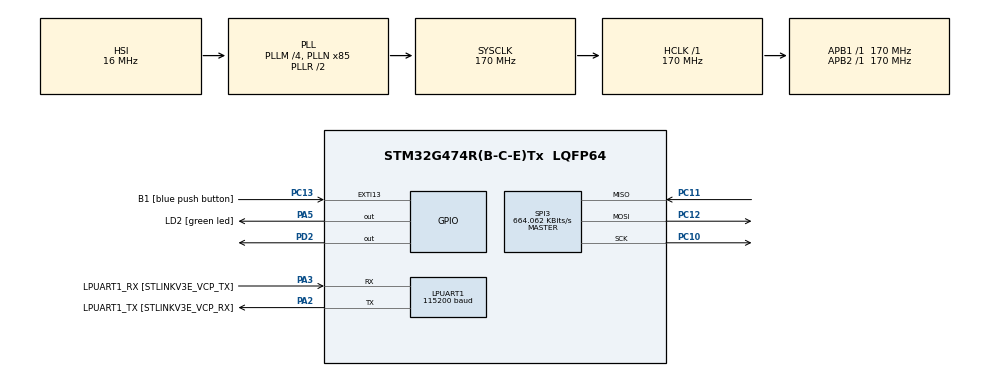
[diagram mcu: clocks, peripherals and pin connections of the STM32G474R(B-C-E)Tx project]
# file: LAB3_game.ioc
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Dma.LPUART1_RX.0.Direction=DMA_PERIPH_TO_MEMORY
Dma.LPUART1_RX.0.EventEnable=DISABLE
Dma.LPUART1_RX.0.Instance=DMA1_Channel1
Dma.LPUART1_RX.0.MemDataAlignment=DMA_MDATAALIGN_BYTE
Dma.LPUART1_RX.0.MemInc=DMA_MINC_ENABLE
Dma.LPUART1_RX.0.Mode=DMA_CIRCULAR
Dma.LPUART1_RX.0.PeriphDataAlignment=DMA_PDATAALIGN_BYTE
Dma.LPUART1_RX.0.PeriphInc=DMA_PINC_DISABLE
Dma.LPUART1_RX.0.Polarity=HAL_DMAMUX_REQ_GEN_RISING
Dma.LPUART1_RX.0.Priority=DMA_PRIORITY_LOW
Dma.LPUART1_RX.0.RequestNumber=1
Dma.LPUART1_RX.0.SignalID=NONE
Dma.LPUART1_RX.0.SyncEnable=DISABLE
Dma.LPUART1_RX.0.SyncPolarity=HAL_DMAMUX_SYNC_NO_EVENT
Dma.LPUART1_RX.0.SyncRequestNumber=1
Dma.LPUART1_RX.0.SyncSignalID=NONE
Dma.LPUART1_TX.1.Direction=DMA_MEMORY_TO_PERIPH
Dma.LPUART1_TX.1.EventEnable=DISABLE
Dma.LPUART1_TX.1.Instance=DMA1_Channel2
Dma.LPUART1_TX.1.MemDataAlignment=DMA_MDATAALIGN_BYTE
Dma.LPUART1_TX.1.MemInc=DMA_MINC_ENABLE
Dma.LPUART1_TX.1.Mode=DMA_CIRCULAR
Dma.LPUART1_TX.1.PeriphDataAlignment=DMA_PDATAALIGN_BYTE
Dma.LPUART1_TX.1.PeriphInc=DMA_PINC_DISABLE
Dma.LPUART1_TX.1.Polarity=HAL_DMAMUX_REQ_GEN_RISING
Dma.LPUART1_TX.1.Priority=DMA_PRIORITY_LOW
Dma.LPUART1_TX.1.RequestNumber=1
Dma.LPUART1_TX.1.SignalID=NONE
Dma.LPUART1_TX.1.SyncEnable=DISABLE
Dma.LPUART1_TX.1.SyncPolarity=HAL_DMAMUX_SYNC_NO_EVENT
Dma.LPUART1_TX.1.SyncRequestNumber=1
Dma.LPUART1_TX.1.SyncSignalID=NONE
Dma.Request0=LPUART1_RX
Dma.Request1=LPUART1_TX
LPUART1.BaudRate=115200
LPUART1.Parity=UART_PARITY_EVEN
LPUART1.WordLength=UART_WORDLENGTH_9B
Mcu.Family=STM32G4
Mcu.Name=STM32G474R(B-C-E)Tx
Mcu.Package=LQFP64
NVIC.DMA1_Channel1_IRQn=true\:0\:0\:false\:false\:true\:false\:true\:true
NVIC.DMA1_Channel2_IRQn=true\:0\:0\:false\:false\:true\:false\:true\:true
NVIC.EXTI15_10_IRQn=true\:0\:0\:false\:false\:true\:true\:true\:true
NVIC.LPUART1_IRQn=true\:0\:0\:false\:false\:true\:true\:true\:true
NVIC.PriorityGroup=NVIC_PRIORITYGROUP_4
NVIC.SPI3_IRQn=true\:0\:0\:false\:false\:true\:true\:true\:true
PA13.GPIO_Label=T_SWDIO
PA13.Mode=Serial_Wire
PA13.Signal=SYS_JTMS-SWDIO
PA14.GPIO_Label=T_SWCLK
PA14.Mode=Serial_Wire
PA14.Signal=SYS_JTCK-SWCLK
PA2.GPIO_Label=LPUART1_TX [STLINKV3E_VCP_RX]
PA2.Mode=Asynchronous
PA2.Signal=LPUART1_TX
PA3.GPIO_Label=LPUART1_RX [STLINKV3E_VCP_TX]
PA3.Mode=Asynchronous
PA3.Signal=LPUART1_RX
PA5.GPIO_Label=LD2 [green led]
PA5.Signal=GPIO_Output
PB3.GPIO_Label=T_SWO
PB3.Signal=SYS_JTDO-SWO
PC10.Mode=Full_Duplex_Master
PC10.Signal=SPI3_SCK
PC11.Mode=Full_Duplex_Master
PC11.Signal=SPI3_MISO
PC12.Mode=Full_Duplex_Master
PC12.Signal=SPI3_MOSI
PC13.GPIO_Label=B1 [blue push button]
PC13.Signal=GPXTI13
PC14-OSC32_IN.Mode=LSE-External-Oscillator
PC14-OSC32_IN.Signal=RCC_OSC32_IN
PC15-OSC32_OUT.Mode=LSE-External-Oscillator
PC15-OSC32_OUT.Signal=RCC_OSC32_OUT
PD2.PinState=GPIO_PIN_SET
PD2.Signal=GPIO_Output
PF0-OSC_IN.Mode=HSE-External-Oscillator
PF0-OSC_IN.Signal=RCC_OSC_IN
PF1-OSC_OUT.Mode=HSE-External-Oscillator
PF1-OSC_OUT.Signal=RCC_OSC_OUT
ProjectManager.HeapSize=0x200
ProjectManager.StackSize=0x400
ProjectManager.TargetToolchain=STM32CubeIDE
RCC.ADC12Freq_Value=170000000
RCC.ADC345Freq_Value=170000000
RCC.AHBFreq_Value=170000000
RCC.APB1Freq_Value=170000000
RCC.APB1TimFreq_Value=170000000
RCC.APB2Freq_Value=170000000
RCC.APB2TimFreq_Value=170000000
RCC.CortexFreq_Value=170000000
RCC.EXTERNAL_CLOCK_VALUE=12288000
RCC.HCLKFreq_Value=170000000
RCC.HSE_VALUE=24000000
RCC.HSI48_VALUE=48000000
RCC.HSI_VALUE=16000000
RCC.PLLM=RCC_PLLM_DIV4
RCC.PLLN=85
RCC.RTCClockSelection=RCC_RTCCLKSOURCE_LSE
RCC.SYSCLKFreq_VALUE=170000000
RCC.SYSCLKSource=RCC_SYSCLKSOURCE_PLLCLK
RCC.USBFreq_Value=170000000
RCC.VCOOutputFreq_Value=340000000
SPI3.BaudRatePrescaler=SPI_BAUDRATEPRESCALER_256
SPI3.CalculateBaudRate=664.062 KBits/s
SPI3.DataSize=SPI_DATASIZE_8BIT
SPI3.Direction=SPI_DIRECTION_2LINES
SPI3.Mode=SPI_MODE_MASTER
SPI3.VirtualType=VM_MASTER
VP_SYS_VS_DBSignals.Mode=DisableDeadBatterySignals
board=NUCLEO-G474RE

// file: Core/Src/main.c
/* USER CODE BEGIN Header */
/**
 ******************************************************************************
 * @file           : main.c
 * @brief          : Main program body
 ******************************************************************************
 * @attention
 *
 * Copyright (c) 2024 STMicroelectronics.
 * All rights reserved.
 *
 * This software is licensed under terms that can be found in the LICENSE file
 * in the root directory of this software component.
 * If no LICENSE file comes with this software, it is provided AS-IS.
 *
 ******************************************************************************
 */
/* USER CODE END Header */
#include "main.h"

UART_HandleTypeDef hlpuart1;
DMA_HandleTypeDef hdma_lpuart1_rx;
DMA_HandleTypeDef hdma_lpuart1_tx;

SPI_HandleTypeDef hspi3;

/* USER CODE BEGIN PV */
uint8_t SPIRx[4];
uint8_t SPITx[4];

uint8_t RxBuffer[4];
uint8_t TxBuffer[4];
uint8_t mouse_x;
uint8_t mouse_y;
uint64_t time = 0;

uint8_t current_score;
uint8_t high_score;
/* USER CODE END PV */

void SystemClock_Config(void);
static void MX_GPIO_Init(void);
static void MX_DMA_Init(void);
static void MX_LPUART1_UART_Init(void);
static void MX_SPI3_Init(void);

int main(void)
{

  /* MCU Configuration--------------------------------------------------------*/

  /* Reset of all peripherals, Initializes the Flash interface and the Systick. */
  HAL_Init();

  /* Configure the system clock */
  SystemClock_Config();

  /* Initialize all configured peripherals */
  MX_GPIO_Init();
  MX_DMA_Init();
  MX_LPUART1_UART_Init();
  MX_SPI3_Init();
  /* USER CODE BEGIN 2 */
	UART_Receive();
	SPITxRx_Setup();
  /* USER CODE END 2 */

  /* Infinite loop */
	while (1) {

    /* USER CODE BEGIN 3 */
		current_score = RxBuffer[1];
		high_score = RxBuffer[2];
		if (time + 1000 >= HAL_GetTick()) {
			SPITxRx_readIO();
			if (SPIRx[2] == 2) {
				mouse_x = 100;
				mouse_y = 150;
			}
			if (SPIRx[2] == 1) {
				mouse_x = 250;
				mouse_y = 150;
			}
			if (SPIRx[2] == 3) {
				mouse_x = 0;
				mouse_y = 0;
			}
			TxBuffer[0] = 20;
			TxBuffer[1] = mouse_x;
			TxBuffer[2] = mouse_y;
			TxBuffer[3] = '\n';
			//
			HAL_UART_Transmit_IT(&hlpuart1, TxBuffer, 4);
			time = HAL_GetTick();
		}
	}
  /* USER CODE END 3 */
}

void SystemClock_Config(void)
{
  RCC_OscInitTypeDef RCC_OscInitStruct = {0};
  RCC_ClkInitTypeDef RCC_ClkInitStruct = {0};

  /** Configure the main internal regulator output voltage
  */
  HAL_PWREx_ControlVoltageScaling(PWR_REGULATOR_VOLTAGE_SCALE1_BOOST);

  /** Initializes the RCC Oscillators according to the specified parameters
  * in the RCC_OscInitTypeDef structure.
  */
  RCC_OscInitStruct.OscillatorType = RCC_OSCILLATORTYPE_HSI;
  RCC_OscInitStruct.HSIState = RCC_HSI_ON;
  RCC_OscInitStruct.HSICalibrationValue = RCC_HSICALIBRATION_DEFAULT;
  RCC_OscInitStruct.PLL.PLLState = RCC_PLL_ON;
  RCC_OscInitStruct.PLL.PLLSource = RCC_PLLSOURCE_HSI;
  RCC_OscInitStruct.PLL.PLLM = RCC_PLLM_DIV4;
  RCC_OscInitStruct.PLL.PLLN = 85;
  RCC_OscInitStruct.PLL.PLLP = RCC_PLLP_DIV2;
  RCC_OscInitStruct.PLL.PLLQ = RCC_PLLQ_DIV2;
  RCC_OscInitStruct.PLL.PLLR = RCC_PLLR_DIV2;
  if (HAL_RCC_OscConfig(&RCC_OscInitStruct) != HAL_OK)
  {
    Error_Handler();
  }

  /** Initializes the CPU, AHB and APB buses clocks
  */
  RCC_ClkInitStruct.ClockType = RCC_CLOCKTYPE_HCLK|RCC_CLOCKTYPE_SYSCLK
                              |RCC_CLOCKTYPE_PCLK1|RCC_CLOCKTYPE_PCLK2;
  RCC_ClkInitStruct.SYSCLKSource = RCC_SYSCLKSOURCE_PLLCLK;
  RCC_ClkInitStruct.AHBCLKDivider = RCC_SYSCLK_DIV1;
  RCC_ClkInitStruct.APB1CLKDivider = RCC_HCLK_DIV1;
  RCC_ClkInitStruct.APB2CLKDivider = RCC_HCLK_DIV1;

  if (HAL_RCC_ClockConfig(&RCC_ClkInitStruct, FLASH_LATENCY_4) != HAL_OK)
  {
    Error_Handler();
  }
}

static void MX_LPUART1_UART_Init(void)
{

  hlpuart1.Instance = LPUART1;
  hlpuart1.Init.BaudRate = 115200;
  hlpuart1.Init.WordLength = UART_WORDLENGTH_9B;
  hlpuart1.Init.StopBits = UART_STOPBITS_1;
  hlpuart1.Init.Parity = UART_PARITY_EVEN;
  hlpuart1.Init.Mode = UART_MODE_TX_RX;
  hlpuart1.Init.HwFlowCtl = UART_HWCONTROL_NONE;
  hlpuart1.Init.OneBitSampling = UART_ONE_BIT_SAMPLE_DISABLE;
  hlpuart1.Init.ClockPrescaler = UART_PRESCALER_DIV1;
  hlpuart1.AdvancedInit.AdvFeatureInit = UART_ADVFEATURE_NO_INIT;
  if (HAL_UART_Init(&hlpuart1) != HAL_OK)
  {
    Error_Handler();
  }
  if (HAL_UARTEx_SetTxFifoThreshold(&hlpuart1, UART_TXFIFO_THRESHOLD_1_8) != HAL_OK)
  {
    Error_Handler();
  }
  if (HAL_UARTEx_SetRxFifoThreshold(&hlpuart1, UART_RXFIFO_THRESHOLD_1_8) != HAL_OK)
  {
    Error_Handler();
  }
  if (HAL_UARTEx_DisableFifoMode(&hlpuart1) != HAL_OK)
  {
    Error_Handler();
  }

}

static void MX_SPI3_Init(void)
{

  /* SPI3 parameter configuration*/
  hspi3.Instance = SPI3;
  hspi3.Init.Mode = SPI_MODE_MASTER;
  hspi3.Init.Direction = SPI_DIRECTION_2LINES;
  hspi3.Init.DataSize = SPI_DATASIZE_8BIT;
  hspi3.Init.CLKPolarity = SPI_POLARITY_LOW;
  hspi3.Init.CLKPhase = SPI_PHASE_1EDGE;
  hspi3.Init.NSS = SPI_NSS_SOFT;
  hspi3.Init.BaudRatePrescaler = SPI_BAUDRATEPRESCALER_256;
  hspi3.Init.FirstBit = SPI_FIRSTBIT_MSB;
  hspi3.Init.TIMode = SPI_TIMODE_DISABLE;
  hspi3.Init.CRCCalculation = SPI_CRCCALCULATION_DISABLE;
  hspi3.Init.CRCPolynomial = 7;
  hspi3.Init.CRCLength = SPI_CRC_LENGTH_DATASIZE;
  hspi3.Init.NSSPMode = SPI_NSS_PULSE_ENABLE;
  if (HAL_SPI_Init(&hspi3) != HAL_OK)
  {
    Error_Handler();
  }

}

static void MX_DMA_Init(void)
{

  /* DMA controller clock enable */
  __HAL_RCC_DMAMUX1_CLK_ENABLE();
  __HAL_RCC_DMA1_CLK_ENABLE();

  /* DMA interrupt init */
  /* DMA1_Channel1_IRQn interrupt configuration */
  HAL_NVIC_SetPriority(DMA1_Channel1_IRQn, 0, 0);
  HAL_NVIC_EnableIRQ(DMA1_Channel1_IRQn);
  /* DMA1_Channel2_IRQn interrupt configuration */
  HAL_NVIC_SetPriority(DMA1_Channel2_IRQn, 0, 0);
  HAL_NVIC_EnableIRQ(DMA1_Channel2_IRQn);

}

static void MX_GPIO_Init(void)
{
  GPIO_InitTypeDef GPIO_InitStruct = {0};

  /* GPIO Ports Clock Enable */
  __HAL_RCC_GPIOC_CLK_ENABLE();
  __HAL_RCC_GPIOF_CLK_ENABLE();
  __HAL_RCC_GPIOA_CLK_ENABLE();
  __HAL_RCC_GPIOD_CLK_ENABLE();
  __HAL_RCC_GPIOB_CLK_ENABLE();

  /*Configure GPIO pin Output Level */
  HAL_GPIO_WritePin(LD2_GPIO_Port, LD2_Pin, GPIO_PIN_RESET);

  /*Configure GPIO pin Output Level */
  HAL_GPIO_WritePin(GPIOD, GPIO_PIN_2, GPIO_PIN_SET);

  /*Configure GPIO pin : B1_Pin */
  GPIO_InitStruct.Pin = B1_Pin;
  GPIO_InitStruct.Mode = GPIO_MODE_IT_RISING;
  GPIO_InitStruct.Pull = GPIO_NOPULL;
  HAL_GPIO_Init(B1_GPIO_Port, &GPIO_InitStruct);

  /*Configure GPIO pin : LD2_Pin */
  GPIO_InitStruct.Pin = LD2_Pin;
  GPIO_InitStruct.Mode = GPIO_MODE_OUTPUT_PP;
  GPIO_InitStruct.Pull = GPIO_NOPULL;
  GPIO_InitStruct.Speed = GPIO_SPEED_FREQ_LOW;
  HAL_GPIO_Init(LD2_GPIO_Port, &GPIO_InitStruct);

  /*Configure GPIO pin : PD2 */
  GPIO_InitStruct.Pin = GPIO_PIN_2;
  GPIO_InitStruct.Mode = GPIO_MODE_OUTPUT_PP;
  GPIO_InitStruct.Pull = GPIO_NOPULL;
  GPIO_InitStruct.Speed = GPIO_SPEED_FREQ_LOW;
  HAL_GPIO_Init(GPIOD, &GPIO_InitStruct);

  /* EXTI interrupt init*/
  HAL_NVIC_SetPriority(EXTI15_10_IRQn, 0, 0);
  HAL_NVIC_EnableIRQ(EXTI15_10_IRQn);

}

/* USER CODE BEGIN 4 */
void UART_Receive() {
	HAL_UART_Receive_IT(&hlpuart1, RxBuffer, 4);
}
void HAL_UART_RxCpltCallback(UART_HandleTypeDef *huart) {
	if (huart == &hlpuart1) {
		if (RxBuffer[0] == 20) {

		}
		HAL_UART_Receive_IT(&hlpuart1, RxBuffer, 4);
	}
}
void SPITxRx_Setup() {
//CS pulse
	HAL_GPIO_WritePin(GPIOD, GPIO_PIN_2, 0); // CS Select
	HAL_Delay(1);
	HAL_GPIO_WritePin(GPIOD, GPIO_PIN_2, 1); // CS deSelect
	HAL_Delay(1);
}
void SPITxRx_readIO() {
	if (HAL_GPIO_ReadPin(GPIOD, GPIO_PIN_2)) {
		HAL_GPIO_WritePin(GPIOD, GPIO_PIN_2, 0); // CS Select
		SPITx[0] = 0b01000001;
		SPITx[1] = 0x12;
		SPITx[2] = 0;
		SPITx[3] = 0;
		HAL_SPI_TransmitReceive_IT(&hspi3, SPITx, SPIRx, 4);
	}
}
void HAL_SPI_TxRxCpltCallback(SPI_HandleTypeDef *hspi) {
	HAL_GPIO_WritePin(GPIOD, GPIO_PIN_2, 1); //CS dnSelect
}
/* USER CODE END 4 */

void Error_Handler(void)
{
	__disable_irq();
	while (1) {
	}
}
